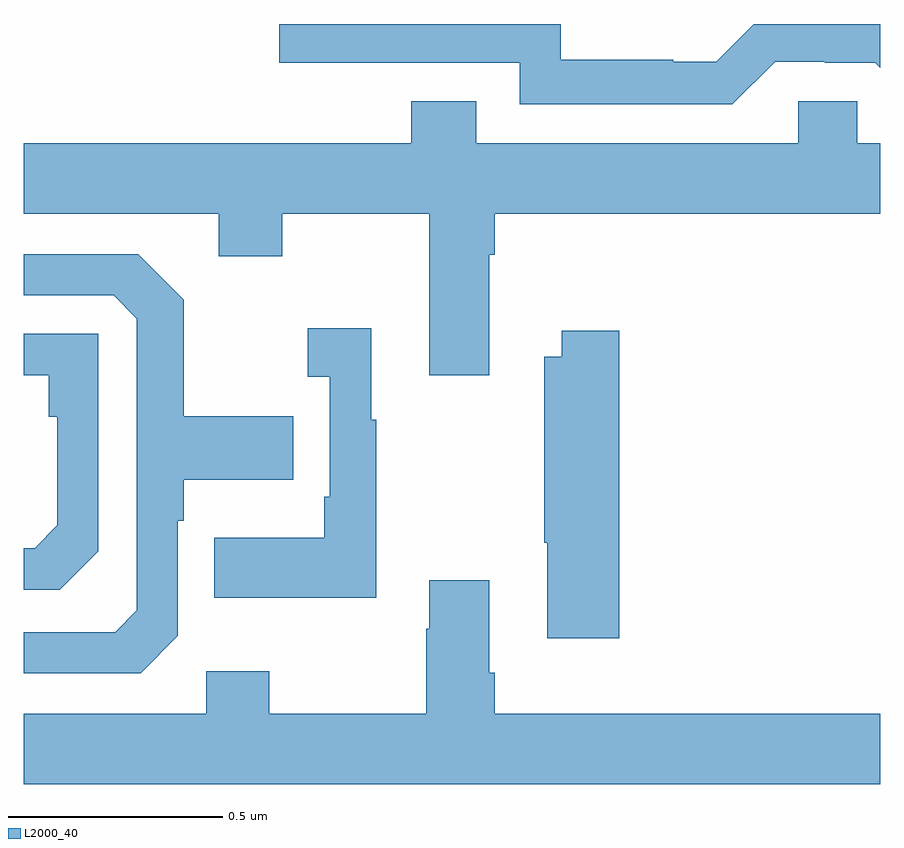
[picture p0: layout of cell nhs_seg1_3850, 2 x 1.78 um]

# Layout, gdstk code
import gdstk
lib = gdstk.Library(unit=1e-6, precision=1e-09)
def P(c, l, *ps):  # polygons
    for p in ps: c.add(gdstk.Polygon(p, *l))
L2000_40 = (2000, 40)

nhs_seg1_3850 = lib.new_cell('nhs_seg1_3850')
P(nhs_seg1_3850, L2000_40, [(160.755,528.111),(160.871,528.111),(160.871,528.108),(160.989,528.108),(161,528.097),(161,528.199),(160.705,528.199),(160.617,528.111),(160.517,528.111),(160.517,528.115),(160.254,528.115),(160.254,528.199),(159.597,528.199),(159.597,528.108),(160.158,528.108),(160.158,528.011),(160.655,528.011)],
  [(160.087,527.66),(160.1,527.66),(160.1,527.756),(161,527.756),(161,527.92),(160.947,527.92),(160.947,528.018),(160.809,528.018),(160.809,527.92),(160.057,527.92),(160.057,528.019),(159.905,528.019),(159.905,527.92),(159,527.92),(159,527.756),(159.455,527.756),(159.455,527.657),(159.603,527.657),(159.603,527.756),(159.947,527.756),(159.947,527.379),(160.087,527.379)],
  [(159.36,526.77),(159.36,527.039),(159.373,527.039),(159.373,527.135),(159.629,527.135),(159.629,527.283),(159.373,527.283),(159.373,527.555),(159.267,527.661),(159,527.661),(159,527.565),(159.21,527.565),(159.264,527.511),(159.264,526.83),(159.213,526.779),(159,526.779),(159,526.683),(159.273,526.683)],
  [(159.823,527.275),(159.811,527.275),(159.811,527.488),(159.663,527.488),(159.663,527.375),(159.714,527.375),(159.714,527.095),(159.702,527.095),(159.702,526.999),(159.445,526.999),(159.445,526.859),(159.823,526.859)],
  [(160.391,527.482),(160.256,527.482),(160.256,527.422),(160.216,527.422),(160.216,526.987),(160.223,526.987),(160.223,526.764),(160.391,526.764)],
  [(159.174,526.968),(159.174,527.475),(159,527.475),(159,527.379),(159.058,527.379),(159.058,527.282),(159.078,527.282),(159.078,527.028),(159.025,526.975),(159,526.975),(159,526.878),(159.084,526.878)],
  [(161,526.588),(160.1,526.588),(160.1,526.684),(160.087,526.684),(160.087,526.9),(159.947,526.9),(159.947,526.787),(159.94,526.787),(159.94,526.588),(159.573,526.588),(159.573,526.687),(159.426,526.687),(159.426,526.588),(159,526.588),(159,526.424),(161,526.424)])

lib.write_gds('nhs_seg1_3850.gds')
